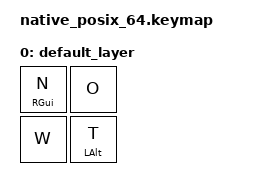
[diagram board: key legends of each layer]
#include <dt-bindings/zmk/keys.h>
#include <behaviors.dtsi>
#include <dt-bindings/zmk/kscan_mock.h>

/* Timings as shipped in DactylZMKGur config/cosmos.keymap (200 ms term, 150 ms prior-idle,
   quick-tap off). pos0 = right-hand mod RGUI/N (triggers: left keys 2 3), pos1 = right key O,
   pos2 = left key W, pos3 = left-hand mod LALT/T (triggers: right keys 0 1). */
/ {
    behaviors {
        hmr: hrm_hmr {
            compatible = "zmk,behavior-hold-tap";
            #binding-cells = <2>;
            flavor = "balanced";
            tapping-term-ms = <200>;
            quick-tap-ms = <0>;
            require-prior-idle-ms = <150>;
            bindings = <&kp>, <&kp>;
            hold-trigger-key-positions = <2 3>;
            
            same-hand-tap-after-term;
        };
        hml: hrm_hml {
            compatible = "zmk,behavior-hold-tap";
            #binding-cells = <2>;
            flavor = "balanced";
            tapping-term-ms = <200>;
            quick-tap-ms = <0>;
            require-prior-idle-ms = <150>;
            bindings = <&kp>, <&kp>;
            hold-trigger-key-positions = <0 1>;
            
            same-hand-tap-after-term;
        };
    };
    keymap {
        compatible = "zmk,keymap";
        default_layer {
            bindings = <
                &hmr RGUI N &kp O
                &kp W &hml LALT T>;
        };
    };
};

&kscan {
    events = <
        /* warm-up tap of a plain key so require-prior-idle starts from idle */
        ZMK_MOCK_PRESS(1,0,10)
        ZMK_MOCK_RELEASE(1,0,500)
        ZMK_MOCK_PRESS(1,0,10)
        ZMK_MOCK_RELEASE(1,0,100)
        ZMK_MOCK_PRESS(0,0,10)
        ZMK_MOCK_PRESS(0,1,10)
        ZMK_MOCK_RELEASE(0,1,10)
        ZMK_MOCK_RELEASE(0,0,10)
    >;
};
